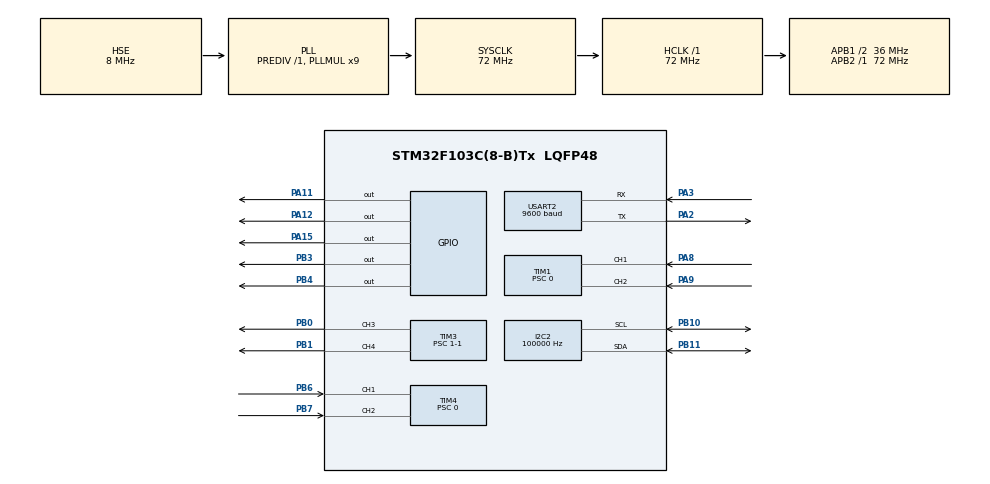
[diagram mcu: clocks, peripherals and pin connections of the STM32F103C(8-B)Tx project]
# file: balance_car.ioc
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I2C2.ClockSpeed=100000
I2C2.I2C_Mode=I2C_Standard
Mcu.Family=STM32F1
Mcu.Name=STM32F103C(8-B)Tx
Mcu.Package=LQFP48
NVIC.PriorityGroup=NVIC_PRIORITYGROUP_4
NVIC.TIM2_IRQn=true\:0\:0\:false\:false\:true\:true\:true\:true
NVIC.USART2_IRQn=true\:0\:0\:false\:false\:true\:true\:true\:true
PA11.Signal=GPIO_Output
PA12.Signal=GPIO_Output
PA13.Mode=Serial_Wire
PA13.Signal=SYS_JTMS-SWDIO
PA14.Mode=Serial_Wire
PA14.Signal=SYS_JTCK-SWCLK
PA15.Signal=GPIO_Output
PA2.Mode=Asynchronous
PA2.Signal=USART2_TX
PA3.Mode=Asynchronous
PA3.Signal=USART2_RX
PA8.Signal=S_TIM1_CH1
PA9.Signal=S_TIM1_CH2
PB0.Signal=S_TIM3_CH3
PB1.Signal=S_TIM3_CH4
PB10.Mode=I2C
PB10.Signal=I2C2_SCL
PB11.Mode=I2C
PB11.Signal=I2C2_SDA
PB3.Signal=GPIO_Output
PB4.Signal=GPIO_Output
PB6.Signal=S_TIM4_CH1
PB7.Signal=S_TIM4_CH2
PD0-OSC_IN.Mode=HSE-External-Oscillator
PD0-OSC_IN.Signal=RCC_OSC_IN
PD1-OSC_OUT.Mode=HSE-External-Oscillator
PD1-OSC_OUT.Signal=RCC_OSC_OUT
ProjectManager.HeapSize=0x200
ProjectManager.StackSize=0x400
ProjectManager.TargetToolchain=CMake
RCC.AHBFreq_Value=72000000
RCC.APB1CLKDivider=RCC_HCLK_DIV2
RCC.APB1Freq_Value=36000000
RCC.APB1TimFreq_Value=72000000
RCC.APB2Freq_Value=72000000
RCC.APB2TimFreq_Value=72000000
RCC.HCLKFreq_Value=72000000
RCC.PLLMUL=RCC_PLL_MUL9
RCC.PLLSourceVirtual=RCC_PLLSOURCE_HSE
RCC.SYSCLKFreq_VALUE=72000000
RCC.SYSCLKSource=RCC_SYSCLKSOURCE_PLLCLK
RCC.USBFreq_Value=72000000
SH.S_TIM1_CH1.0=TIM1_CH1,Encoder_Interface
SH.S_TIM1_CH2.0=TIM1_CH2,Encoder_Interface
SH.S_TIM3_CH3.0=TIM3_CH3,PWM Generation3 CH3
SH.S_TIM3_CH4.0=TIM3_CH4,PWM Generation4 CH4
SH.S_TIM4_CH1.0=TIM4_CH1,Encoder_Interface
SH.S_TIM4_CH2.0=TIM4_CH2,Encoder_Interface
TIM1.EncoderMode=TIM_ENCODERMODE_TI12
TIM1.Period=65535
TIM1.Prescaler=0
TIM2.Period=2000-1
TIM2.Prescaler=72-1
TIM3.Channel-PWM\ Generation3\ CH3=TIM_CHANNEL_3
TIM3.Channel-PWM\ Generation4\ CH4=TIM_CHANNEL_4
TIM3.Period=3600-1
TIM3.Prescaler=1-1
TIM4.EncoderMode=TIM_ENCODERMODE_TI12
TIM4.Period=65535
TIM4.Prescaler=0
USART2.BaudRate=9600
USART2.VirtualMode=VM_ASYNC
VP_TIM2_VS_ClockSourceINT.Mode=Internal
board=custom

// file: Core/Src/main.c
/* USER CODE BEGIN Header */
/**
  ******************************************************************************
  * @file           : main.c
  * @brief          : Main program body
  ******************************************************************************
  * @attention
  *
  * Copyright (c) 2026 STMicroelectronics.
  * All rights reserved.
  *
  * This software is licensed under terms that can be found in the LICENSE file
  * in the root directory of this software component.
  * If no LICENSE file comes with this software, it is provided AS-IS.
  *
  ******************************************************************************
  */
/* USER CODE END Header */
#include "main.h"
#include "i2c.h"
#include "tim.h"
#include "usart.h"
#include "gpio.h"

/* USER CODE BEGIN Includes */
#include "sensor_app.h"
#include "scheduler.h"
#include "display_app.h"
#include "telemetry_app.h"
#include "oled.h"
#include "motor_app.h"
#include "motor_board.h"
#include "motion_app.h"
#include "status_state_app.h"
#include "lqr_app.h"
#include "trace_app.h"
#include "debug_app.h"
#include "timebase.h"

/* USER CODE END Includes */

void SystemClock_Config(void);

/* USER CODE BEGIN 0 */
static LqrTrace lqr_trace;
static ImuTrace imu_trace;
static uint32_t last_control_sample_sequence;
static bool have_control_sample;
static bool sample_available(void)
{
  const ImuSample *sample = SensorApp_GetSample();
  return SensorApp_GetStatus()->ready && sample->valid &&
         (uint32_t)(Timebase_NowUs() - sample->timestamp_us) < IMU_TIMEOUT_US;
}
static void display_task(void *context){
  //渲染任务和推送任务被分离了，这里只负责渲染，推到oled的部分被分到了oled_task部分
  (void)context;
  const MotionSample *pose=MotionApp_GetSample();
  bool available=sample_available() &&
      (uint32_t)(Timebase_NowUs()-pose->timestamp_us)<IMU_TIMEOUT_US;
  DisplayApp_Render(pose, available);
}

//区分了两个串口任务，分别是串口打印任务
static void report_task(void *context){
  (void)context;
  /* 不需要哪类数据就注释对应调用；@stream 控制全部周期输出。 */

  //TelemetryApp_ReportImu(SensorApp_GetSample(), sample_available());
  //TelemetryApp_ReportAttitude(sample_available());
  //TelemetryApp_ReportMotor(MotorApp_GetSample());
  TelemetryApp_ReportState(StatusStateApp_GetState());
}
//解析字符串命令任务
static void uart_task(void *context) {
  (void)context; TelemetryApp_Poll();
}

static void oled_task(void *context){
  (void)context;
  /* 8 字节分块，允许在姿态和整车状态计算后的剩余时间刷新。 */
  //很大胆的设计，将i2c总线被mpu占用后的剩余量全都用来推oled，我并不是很喜欢这样做，后续可以看看怎么优化
  if (SensorApp_TimeUntilSampleUs() >= OLED_POLL_BUDGET_US) DisplayApp_Poll();
}
static void sensor_retry_task(void *context)
{
  (void)context;
  if (!MotorApp_IsActive() && !SensorApp_GetStatus()->ready) SensorApp_Reconnect();
}
static void oled_retry_task(void *context)
{
  if (!MotorApp_IsActive() && !OLED_IsReady()) DisplayApp_Init(context);
}
/* 应用任务的周期统一在此配置；周期为 0 表示每轮主循环都执行。
 * 故障恢复目前会阻塞等待 MPU 复位和稳定，因此不保证硬实时性。 */
static SchedulerTask tasks[] = {
  {.function=uart_task,         .period_ms=0,    .enabled=true},
  {.function=display_task,      .period_ms=200,  .enabled=true},
  /* 周期输出共用 9600/8N1，500 ms 周期为命令回执留出带宽。 */
  {.function=report_task,       .period_ms=500,  .enabled=true},
  {.function=oled_task,         .period_ms=0,    .enabled=true},
  {.function=sensor_retry_task, .period_ms=1000, .enabled=true},
  {.function=oled_retry_task,   .context=&hi2c2, .period_ms=2000, .enabled=true},
};
#define TASK_COUNT (sizeof(tasks) / sizeof(tasks[0]))

//定义MPU的零点偏移和缩放倍数
static SensorCalibration calibration = {
  .accel_bias_g = {0.01, 0, 0.2},
  .accel_scale = {-1, -1, -1},//反转一下x，y，z方向上的正负
  .gyro_bias_dps = {-1.75, +1.4, -0.6},
  .gyro_scale = {1, 1, 1},
};

/* USER CODE END 0 */

int main(void)
{

  /* MCU Configuration--------------------------------------------------------*/

  /* Reset of all peripherals, Initializes the Flash interface and the Systick. */
  HAL_Init();

  /* Configure the system clock */
  SystemClock_Config();

  /* USER CODE BEGIN SysInit */

  //这里隐含着执行了一次时间基准的初始化
  if (!Timebase_Init()) Error_Handler();

  /* USER CODE END SysInit */

  /* Initialize all configured peripherals */
  MX_GPIO_Init();
  MX_I2C2_Init();
  MX_USART2_UART_Init();
  MX_TIM1_Init();
  MX_TIM3_Init();
  MX_TIM4_Init();
  MX_TIM2_Init();
  /* USER CODE BEGIN 2 */
  if (!TelemetryApp_Init(&huart2)) Error_Handler();
  SensorApp_Init(&hi2c2, &calibration, Timebase_NowUs); // 初始化传感器应用，绑定总线、校准参数和微秒时钟
  DisplayApp_Init(&hi2c2);
  const MotorAppConfig *motor_config=MotorBoard_Init();
  MotorApp_Init(motor_config, Timebase_NowUs());
  /* 加速度输出保留三轴反号；解算内部恢复为右手坐标系中的比力。 */
  MotionConfig motion_config=MotionEstimator_DefaultConfig();
  if (!MotionApp_Init(&motion_config, Timebase_NowUs)) Error_Handler();
  if (motor_config && !StatusStateApp_Init(motor_config->left.radius_m,
                                           motor_config->right.radius_m)) Error_Handler();
  LqrConfig lqr_config=LqrApp_DefaultConfig();
  LqrTuning lqr_tuning=LqrApp_DefaultTuning();
  if (!TrajectoryApp_Init()) Error_Handler();
  if (!LqrApp_Init(&lqr_config,&lqr_tuning)) Error_Handler();
  /* 两个记录器拥有独立的类型化数组；初始化不启动记录或电机。 */
  if (!LqrTrace_Init(&lqr_trace) || !ImuTrace_Init(&imu_trace)) Error_Handler();
  if (!DebugApp_Init(&lqr_trace,&imu_trace)) Error_Handler();
  Scheduler_Init(tasks, TASK_COUNT, HAL_GetTick());

  /* USER CODE END 2 */

  /* Infinite loop */
  while (1)
  {

    /* USER CODE BEGIN 3 */
    SensorApp_Poll(); /* 模块内部管理采集周期，主循环先推进采集，再处理姿态与控制。 */
    MotionApp_Poll(); /* 只消费样本，不触发采集。 */
    uint32_t now=Timebase_NowUs();
    const ImuSample *sample=SensorApp_GetSample();
    const MotionSample *pose=MotionApp_GetSample();
    /* 姿态可能因频率上限延后处理；等待匹配的新姿态再采样电机并控制。
     * 不能把新 IMU 与旧姿态拼成一帧，也不建立独立控制相位。 */
    if (sample->valid && pose->valid && pose->timestamp_us==sample->timestamp_us &&
        pose->imu_source.timestamp_us==sample->timestamp_us &&
        pose->imu_source.sequence==sample->sequence &&
        (uint32_t)(now-pose->timestamp_us)<IMU_TIMEOUT_US &&
        (!have_control_sample || pose->sequence!=last_control_sample_sequence)) {
      last_control_sample_sequence=pose->sequence;
      have_control_sample=true;
      MotorApp_Poll(now,true); /* Synchronously publishes every wheel increment. */
      StatusStateApp_Poll(now);
      TrajectoryApp_Poll(Timebase_NowUs());
      LqrApp_Poll(Timebase_NowUs());
    } else {
      MotorApp_Poll(now,false);
      StatusStateApp_Poll(now);
      TrajectoryApp_Poll(now);
      LqrApp_Poll(now);
    }
    DebugApp_Poll(Timebase_NowUs());
    Scheduler_Run(tasks, TASK_COUNT, HAL_GetTick());
    DebugApp_Poll(Timebase_NowUs());
  }
  /* USER CODE END 3 */
}

void SystemClock_Config(void)
{
  RCC_OscInitTypeDef RCC_OscInitStruct = {0};
  RCC_ClkInitTypeDef RCC_ClkInitStruct = {0};

  /** Initializes the RCC Oscillators according to the specified parameters
  * in the RCC_OscInitTypeDef structure.
  */
  RCC_OscInitStruct.OscillatorType = RCC_OSCILLATORTYPE_HSE;
  RCC_OscInitStruct.HSEState = RCC_HSE_ON;
  RCC_OscInitStruct.HSEPredivValue = RCC_HSE_PREDIV_DIV1;
  RCC_OscInitStruct.HSIState = RCC_HSI_ON;
  RCC_OscInitStruct.PLL.PLLState = RCC_PLL_ON;
  RCC_OscInitStruct.PLL.PLLSource = RCC_PLLSOURCE_HSE;
  RCC_OscInitStruct.PLL.PLLMUL = RCC_PLL_MUL9;
  if (HAL_RCC_OscConfig(&RCC_OscInitStruct) != HAL_OK)
  {
    Error_Handler();
  }

  /** Initializes the CPU, AHB and APB buses clocks
  */
  RCC_ClkInitStruct.ClockType = RCC_CLOCKTYPE_HCLK|RCC_CLOCKTYPE_SYSCLK
                              |RCC_CLOCKTYPE_PCLK1|RCC_CLOCKTYPE_PCLK2;
  RCC_ClkInitStruct.SYSCLKSource = RCC_SYSCLKSOURCE_PLLCLK;
  RCC_ClkInitStruct.AHBCLKDivider = RCC_SYSCLK_DIV1;
  RCC_ClkInitStruct.APB1CLKDivider = RCC_HCLK_DIV2;
  RCC_ClkInitStruct.APB2CLKDivider = RCC_HCLK_DIV1;

  if (HAL_RCC_ClockConfig(&RCC_ClkInitStruct, FLASH_LATENCY_2) != HAL_OK)
  {
    Error_Handler();
  }
}

void Error_Handler(void)
{
  __disable_irq();
  while (1)
  {
  }
}
